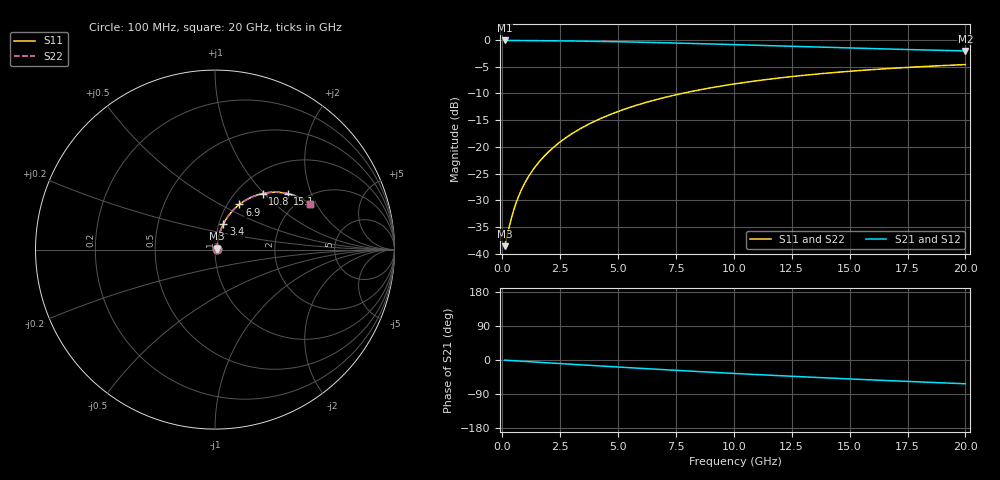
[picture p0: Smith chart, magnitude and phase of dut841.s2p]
! Touchstone file exported from HFSS 2026.1.0
!  File:  C:/ffzhzh/LocalFiles/Ansys_Project_Files/temp_train_BSMRDL_841_1783170394_43440.aedt
!  Generated:  09:07:59 PM Jul  4, 2026
!  Design:  BSMRDL
!  Project:  temp_train_BSMRDL_841_1783170394_43440
! Variables:
!  h_bsmrdl = 2.71um
!  h_ox = 20um
!  h_rdl = 5um
!  h_sub = 80um
!  h_tmrdl = 5um
!  h_tsv = 80um
!  h_via = 3um
!  l_bsmrdl = 966.91um
!  l_sub = 1366.91um
!  l_tmrdl = 200um
!  m_sub = 200um
!  pitch = 37.13um
!  r_tsv = 6um
!  s_tmrdl = 10um
!  w_bsmrdl = 11.57um
!  w_sub = 500um
!  w_tmrdl = 12um
!  x_tsv_center1 = 206um
!  x_tsv_center2 = 1184.48um
!  x_tsv_center3 = 1396.48um
!  x_tsv_center4 = 2374.96um
!  x_tsv_center5 = 2586.96um
!  x_tsv_center6 = 3565.44um
# GHz S MA R 50.000000
! Terminal data exported
! Port[1] = BSM_RDL1_1_T1
! Port[2] = BSM_RDL1_1_T2
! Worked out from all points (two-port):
!   200 points, 100 MHz to 20 GHz, reference 50 ohm
!   highest |S21| = -0.09 dB at 100 MHz (marker M1); lowest = -2.1 dB at 20 GHz (marker M2)
!   |S21| within 3 dB of the highest: start of sweep to end of sweep
!   lowest |S11| = -38.6 dB at 100 MHz (marker M3), VSWR 1.02, Z = 51.1 + j0.474 ohm
!   |S11| at or under -10 dB: start of sweep to 7.774 GHz
!   |S22| runs from -38.6 to -4.6 dB; largest |S21 - S12| = 4.7e-15
!   S11 on the Smith chart (normalised r, x): 100 MHz: 1.02, +0.01; 3.4 GHz: 1.05, +0.30; 6.9 GHz: 1.13, +0.62; 10.8 GHz: 1.31, +0.98; 15.1 GHz: 1.64, +1.38; 20 GHz: 2.30, +1.78
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0.1  0.01175 23.3  0.9892 -0.4  0.9892 -0.4  0.01175 23.3
! Gamma 0 0 0 0
! Port Impedance 50 0 50 0
0.4  0.02174 57.5  0.9887 -1.6  0.9887 -1.6  0.02174 57.5
0.6  0.03 65.1  0.9881 -2.3  0.9881 -2.3  0.03 65.1
0.7  0.03423 67.3  0.9878 -2.7  0.9878 -2.7  0.03423 67.3
0.9  0.04273 70.2  0.9871 -3.5  0.9871 -3.5  0.04273 70.2
1.2  0.05555 72.5  0.9862 -4.6  0.9862 -4.6  0.05555 72.5
1.6  0.07268 73.8  0.9847 -6.1  0.9847 -6.1  0.07268 73.8
2.1  0.09408 74.1  0.9826 -8.0  0.9826 -8.0  0.09408 74.1
2.7  0.1196 73.4  0.9796 -10.2  0.9796 -10.2  0.1196 73.4
3.4  0.1491 72.0  0.9753 -12.8  0.9753 -12.8  0.1491 72.0
3.5  0.1532 71.7  0.9746 -13.1  0.9746 -13.1  0.1532 71.7
4.2  0.182 69.9  0.9693 -15.7  0.9693 -15.7  0.182 69.9
5  0.214 67.5  0.9624 -18.6  0.9624 -18.6  0.214 67.6
6.8  0.282 61.9  0.9439 -24.9  0.9439 -24.9  0.282 62.0
6.9  0.2856 61.6  0.9428 -25.2  0.9428 -25.2  0.2856 61.7
8.4  0.3372 56.9  0.9251 -30.3  0.9251 -30.3  0.3372 57.0
10.1  0.3899 51.7  0.9036 -35.7  0.9036 -35.7  0.3899 51.8
10.8  0.4099 49.6  0.8945 -37.9  0.8945 -37.9  0.4099 49.7
13.4  0.4754 42.2  0.8612 -45.6  0.8612 -45.6  0.4753 42.3
15.1  0.5112 37.6  0.8404 -50.3  0.8404 -50.3  0.5112 37.7
16.7  0.5404 33.5  0.8221 -54.5  0.8221 -54.5  0.5404 33.6
20  0.5882 25.5  0.7893 -62.7  0.7893 -62.7  0.5882 25.6
